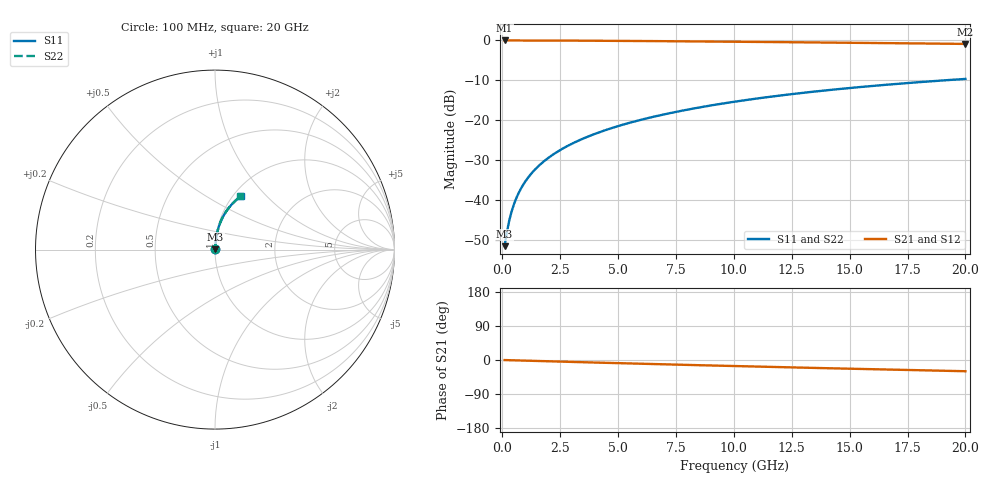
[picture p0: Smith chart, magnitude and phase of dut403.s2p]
! Touchstone file exported from HFSS 2024.1.0
!  File:  C:/UserFiles/LocalFiles/RDL_TSV_Batchsim/temp_RDL_bottom_403_1779682965.aedt
!  Generated:  12:25:21 PM May 25, 2026
!  Design:  RDL_bottom
!  Project:  temp_RDL_bottom_403_1779682965
!  Setup:  Setup1
!  Solution:  Sweep
! Variables:
!  dtsv = 10.80580581um
!  hbump = 3um
!  htsv = 89.46um
!  ldown = 377.15um
!  lrdl = 100um
!  p = 40
!  p1 = 50.72um
!  rhole = 1um
!  t = 450um
!  tdown = 4.5um
!  trdl = 3.915915916um
!  wdown = 16.49um
!  wrdl = 20um
# GHz S MA R 50.000000
! Terminal data exported
! Port[1] = RDL1_T1
! Port[2] = RDL1_T2
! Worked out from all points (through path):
!   200 points, 100 MHz to 20 GHz, reference 50 ohm
!   highest |S21| = -0.02 dB at 100 MHz (marker M1); lowest = -0.9 dB at 20 GHz (marker M2)
!   group delay of S21, straight-line fit = 4.09 ps
!   lowest |S11| = -51.7 dB at 100 MHz (marker M3), VSWR 1.01, Z = 50.2 + j0.176 ohm
!   |S11| at or under -10 dB: start of sweep to 19.17 GHz
!   |S22| runs from -51.7 to -9.7 dB; largest |S21 - S12| = 3.1e-15
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0.1  0.002608 42.4  0.9981 -0.2  0.9981 -0.2  0.002608 42.4
! Gamma 0 0 0 0
! Port Impedance 50 0 50 0
0.2  0.003933 61.1  0.998 -0.4  0.998 -0.4  0.003936 61.1
0.3  0.005468 69.5  0.9979 -0.5  0.9979 -0.5  0.005472 69.6
0.4  0.007076 74.1  0.9978 -0.7  0.9978 -0.7  0.007081 74.1
0.5  0.008716 76.9  0.9977 -0.9  0.9977 -0.9  0.008721 76.9
0.6  0.01037 78.7  0.9976 -1.0  0.9976 -1.0  0.01038 78.8
0.8  0.0137 81.0  0.9974 -1.4  0.9974 -1.4  0.01371 81.0
1.1  0.0187 82.7  0.9971 -1.9  0.9971 -1.9  0.01871 82.7
1.5  0.02537 83.7  0.9965 -2.6  0.9965 -2.6  0.02537 83.7
1.8  0.03035 84.0  0.996 -3.1  0.996 -3.1  0.03036 84.1
2.1  0.03533 84.2  0.9954 -3.6  0.9954 -3.6  0.03534 84.2
2.7  0.04531 84.3  0.994 -4.6  0.994 -4.6  0.04531 84.3
3.5  0.05866 84.1  0.9917 -5.9  0.9917 -5.9  0.05866 84.1
4.2  0.0704 83.8  0.9893 -7.0  0.9893 -7.0  0.0704 83.8
5  0.08391 83.2  0.9863 -8.3  0.9863 -8.3  0.08391 83.2
5.9  0.0992 82.4  0.9825 -9.7  0.9825 -9.7  0.09921 82.4
6.8  0.1146 81.5  0.9784 -11.1  0.9784 -11.1  0.1146 81.5
8.4  0.142 79.7  0.9706 -13.6  0.9706 -13.6  0.142 79.7
10.1  0.1711 77.6  0.9617 -16.1  0.9617 -16.1  0.1711 77.6
13.4  0.2264 73.3  0.9433 -20.8  0.9433 -20.8  0.2264 73.3
16.7  0.2791 68.8  0.9236 -25.3  0.9236 -25.3  0.2791 68.8
20  0.3282 64.3  0.903 -29.6  0.903 -29.6  0.3283 64.4
